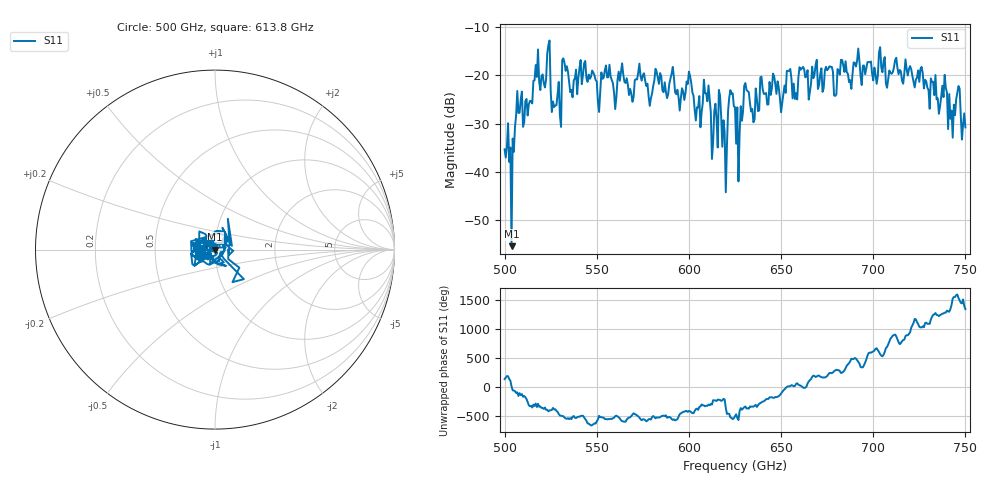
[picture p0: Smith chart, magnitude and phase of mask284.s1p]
!Created with skrf (http://scikit-rf.org).
# GHz S MA R 50.0
!freq magS11 angS11
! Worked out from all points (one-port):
!   401 points, 500 GHz to 750 GHz, reference 50 ohm
!   lowest |S11| = -55.3 dB at 503.8 GHz (marker M1), VSWR 1.00, Z = 50.2 + j0.024 ohm
!   |S11| at or under -10 dB: start of sweep to end of sweep
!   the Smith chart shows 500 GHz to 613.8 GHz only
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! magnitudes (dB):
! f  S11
! 500 GHz  -35.3
! 503.8 GHz  -55.3
! 508.1 GHz  -27.7
! 513.8 GHz  -25.3
! 516.9 GHz  -17.8
! 523.8 GHz  -13.7
! 526.9 GHz  -26.5
! 531.2 GHz  -16.8
! 532.5 GHz  -17.4
! 550.6 GHz  -25.5
! 562.5 GHz  -21.1
! 593.8 GHz  -23.0
! 609.4 GHz  -23.7
! 612.5 GHz  -37.3
! 617.5 GHz  -28.5
! 619.4 GHz  -31.7
! 622.5 GHz  -23.0
! 625 GHz  -26.5
! 626.9 GHz  -41.9
! 631.2 GHz  -23.0
! 634.4 GHz  -26.9
! 656.2 GHz  -24.7
! 687.5 GHz  -21.0
! 718.8 GHz  -20.0
! 738.8 GHz  -19.9
! 741.9 GHz  -29.0
! 746.2 GHz  -22.2
! 750 GHz  -30.7
